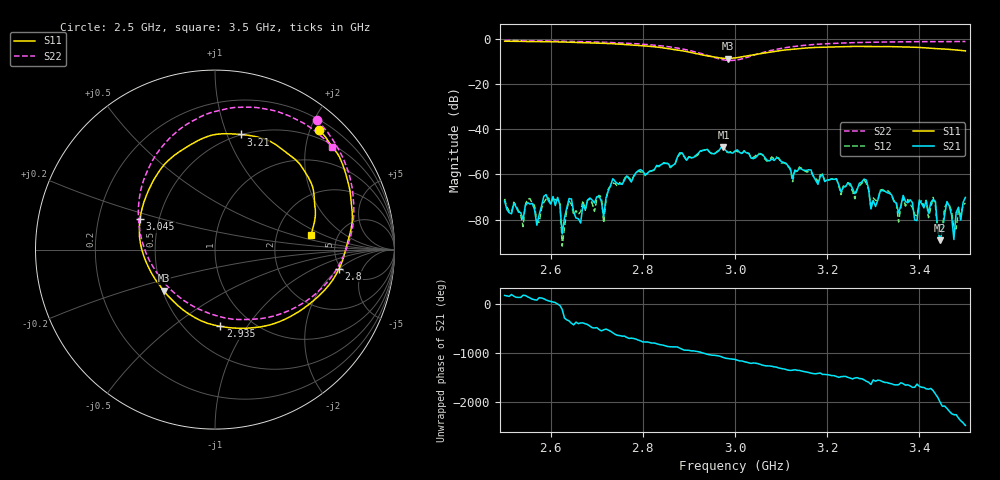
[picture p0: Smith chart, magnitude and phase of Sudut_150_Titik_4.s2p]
# Hz S RI R 50
! CMT, C1220, 16058040, 17.2.0/1
! Date: 15/08/2018 10:33:22
! Data: Format (Calibration Info)
! Freq  S11: Re/Im (F2)  S21: Re/Im (F2)  S12: Re/Im (F2)  S22: Re/Im (F2)
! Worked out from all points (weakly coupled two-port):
!   201 points, 2.5 GHz to 3.5 GHz, reference 50 ohm
!   highest |S21| = -47.90 dB at 2.975 GHz (marker M1); lowest = -89.1 dB at 3.445 GHz (marker M2)
!   lowest |S11| = -8.7 dB at 2.985 GHz (marker M3), VSWR 2.16, Z = 25.4 - j13.4 ohm
!   |S11| at or under -10 dB: nowhere
!   |S22| runs from -9.6 to -0.7 dB; largest |S21 - S12| = 0.00025
!   S11 on the Smith chart (normalised r, x): 2.5 GHz: 0.35, +2.14; 2.8 GHz: 4.81, -1.99; 2.935 GHz: 0.73, -0.76; 3.045 GHz: 0.39, +0.17; 3.21 GHz: 0.50, +1.12; 3.5 GHz: 3.17, +0.71
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2.5e9  0.5793 0.6675  -0.000249 6.82e-05  -0.000275 9.01e-05  0.5655 0.7223
2.54e9  0.6297 0.6066  -9.9e-05 2.04e-05  -6.9e-05 1.5e-05  0.6111 0.6736
2.67e9  0.7498 0.339  0.000182 -0.000117  0.000165 -0.000207  0.7366 0.4519
2.71e9  0.7626 0.2259  -0.000246 6.7e-05  -0.000287 0.000132  0.7621 0.3549
2.715e9  0.764 0.2122  -0.000116 -1.36e-05  -8.55e-05 -4.2e-06  0.7646 0.3424
2.735e9  0.7634 0.1469  -0.000484 0.000649  -0.000386 0.000517  0.7693 0.2887
2.8e9  0.6919 -0.1057  0.000606 -0.00102  0.000623 -0.000927  0.755 0.0731
2.835e9  0.605 -0.2316  -0.000515 -0.00147  -0.000418 -0.00143  0.7025 -0.0639
2.935e9  0.0291 -0.4275  0.00145 0.00316  0.00131 0.00324  0.2154 -0.3877
2.975e9  -0.2331 -0.2868  0.00387 -0.00111  0.00366 -0.0011  -0.0999 -0.3274
2.985e9  -0.286 -0.2287  0.0025 -0.00181  0.00254 -0.00166  -0.1731 -0.2839
3e9  -0.3524 -0.1335  0.00188 -0.00267  0.0018 -0.00275  -0.2707 -0.198
3.045e9  -0.418 0.1701  -0.00155 -0.0018  -0.0017 -0.002  -0.4238 0.1377
3.17e9  -0.00814 0.6396  0.000867 0.00029  0.000862 0.000313  -0.0783 0.7414
3.21e9  0.1425 0.6414  0.000735 -0.000304  0.000746 -0.000309  0.067 0.785
3.285e9  0.3595 0.5695  -0.000545 -0.000516  -0.000447 -0.000457  0.2879 0.7824
3.295e9  0.3836 0.5519  -0.000161 6.39e-05  -0.00017 4.52e-05  0.313 0.7779
3.335e9  0.4661 0.484  -0.000383 -1.89e-06  -0.000404 4.21e-05  0.4035 0.7488
3.355e9  0.4967 0.4402  -0.000126 6.52e-05  -8.69e-05 1.9e-05  0.4415 0.7315
3.43e9  0.555 0.2563  0.000237 0.000147  0.000272 0.000153  0.5651 0.6546
3.445e9  0.5594 0.2182  -3.32e-05 1.14e-05  -1.88e-05 7.11e-05  0.5867 0.6362
3.5e9  0.5338 0.079  0.000216 0.000225  0.000177 0.000156  0.6516 0.5735
